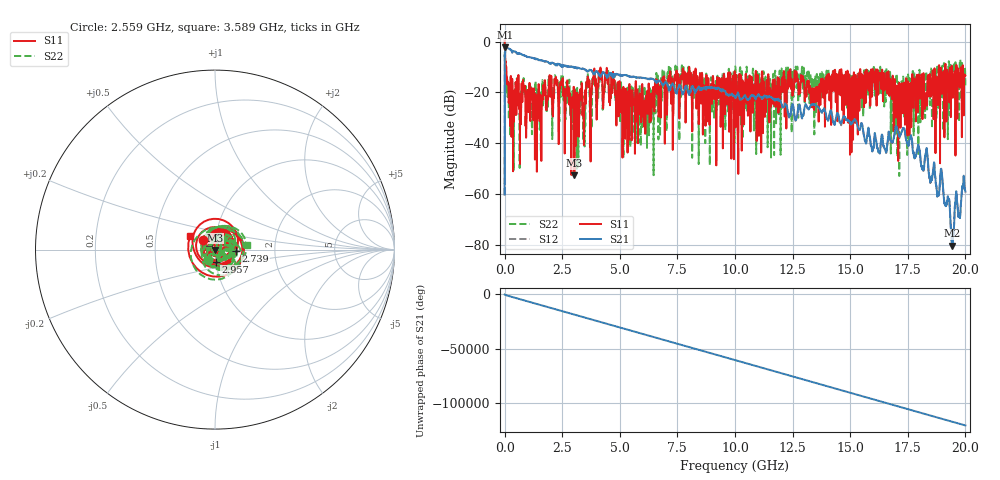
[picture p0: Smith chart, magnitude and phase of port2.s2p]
! MS46122B
! 2250307/22442219
! 2/19/2026 8:51:09 AM
! C:\USERS\SPARKY\DOCUMENTS\VNA_DATA\FEB19_2026\WARM2\PORT2.S2P
! CHANNEL.1
! TR.MEASUREMENT
! RAW.DATA
# GHZ S RI R 50.0
! FREQ.GHZ  S11RE  S11IM  S21RE  S21IM  S12RE  S12IM  S22RE  S22IM
!; PortSelection: Port_12
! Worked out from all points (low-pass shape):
!   10001 points, 1 MHz to 20 GHz, reference 50 ohm
!   highest |S21| = -2.34 dB at 33 MHz (marker M1); lowest = -80.3 dB at 19.43 GHz (marker M2)
!   |S21| within 3 dB of the highest: 19.14 MHz to 783.7 MHz (764.6 MHz wide, 190 % of centre); 798.7 MHz to 827 MHz (28.28 MHz wide, 3.48 % of centre) (the widest 2 of 3)
!   lowest |S11| = -52.6 dB at 3.027 GHz (marker M3), VSWR 1.00, Z = 49.8 - j0.158 ohm
!   |S11| at or under -10 dB: 73.71 MHz to 8.01 GHz (7.936 GHz wide, 196 % of centre); 8.016 GHz to 18.85 GHz (10.83 GHz wide, 80.6 % of centre); 19.62 GHz to 19.87 GHz (252.9 MHz wide, 1.28 % of centre) (the widest 3 of 8)
!   |S22| runs from -52.9 to -0.2 dB; largest |S21 - S12| = 0.063
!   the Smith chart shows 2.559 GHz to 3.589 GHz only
!   S11 on the Smith chart (normalised r, x): 2.559 GHz: 0.87, +0.09; 2.739 GHz: 1.26, -0.02; 2.957 GHz: 1.00, -0.14; 3.589 GHz: 0.75, +0.12
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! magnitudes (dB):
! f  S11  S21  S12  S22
! 1 MHz  0.4  -60.3  -60.4  -0.2
! 33 MHz  -8.4  -2.3  -2.7  -11.9
! 125 MHz  -16.1  -2.5  -2.6  -21.4
! 1.329 GHz  -24.1  -6.7  -6.7  -17.9
! 1.957 GHz  -13.2  -8.7  -8.7  -15.9
! 2.559 GHz  -21.3  -9.4  -9.4  -23.0
! 2.739 GHz  -18.7  -9.7  -9.7  -18.3
! 2.957 GHz  -23.2  -10.1  -10.1  -20.7
! 3.027 GHz  -52.6  -10.2  -10.2  -22.1
! 3.335 GHz  -18.0  -10.7  -10.8  -16.5
! 3.589 GHz  -16.1  -11.8  -11.7  -14.9
! 4.459 GHz  -13.4  -13.8  -13.8  -14.1
! 5.221 GHz  -25.7  -13.1  -13.1  -24.8
! 6.669 GHz  -18.2  -15.5  -15.6  -22.5
! 10 GHz  -13.0  -22.0  -22.1  -10.6
! 13.33 GHz  -18.6  -25.0  -24.8  -15.2
! 16.67 GHz  -12.6  -35.5  -35.6  -13.0
! 17.3 GHz  -21.9  -34.1  -34.0  -13.8
! 18.31 GHz  -20.7  -42.3  -42.6  -13.0
! 18.98 GHz  -19.7  -52.0  -52.4  -10.7
! 19.43 GHz  -11.4  -80.3  -80.5  -15.0
! 20 GHz  -13.5  -59.0  -59.5  -17.3
